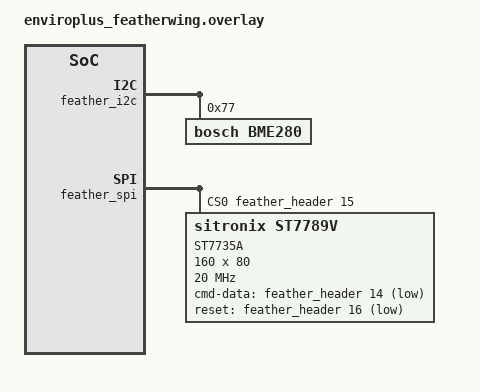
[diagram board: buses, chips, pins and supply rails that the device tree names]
&feather_i2c {
	status = "okay";

	bme280@77 {
		compatible = "bosch,bme280";
		reg = <0x77>;
		label = "BME280";
	};
}

&feather_spi {
	status = "okay";

	cs-gpios = <&feather_header 15 0>;	/* D6 */

	st7735a@0 {
		compatible = "sitronix,st7789v";
		label = "ST7735A";
		spi-max-frequency = <20000000>;
		reg = <0>;
		cmd-data-gpios = <&feather_header 14 GPIO_ACTIVE_LOW>;	/* D5 */
		reset-gpios = <&feather_header 16 GPIO_ACTIVE_LOW>;	/* D9 */
		width = <160>;
		height = <80>;
		x-offset = <26>;
		y-offset = <1>;
		vcom = <0x2b>;
		gctrl = <0x35>;
		vrhs = <0x0f>;
		vdvs = <0x20>;
		mdac = <0x60>;
		gamma = <0x01>;
		colmod = <0x05>;
		lcm = <0x2c>;
		porch-param = [0c 0c 00 33 33];
		cmd2en-param = [5a 69 02 01];
		pwctrl1-param = [02 70];
		pvgam-param = [D0 00 02 07 0B 1A 31 54 40 29 12 12 12 17];
		nvgam-param = [D0 00 02 07 05 15 2D 44 44 1C 18 16 1C 1D];
		ram-param = [00 F8];
		rgb-param = [CD 08 14];
	};
}
